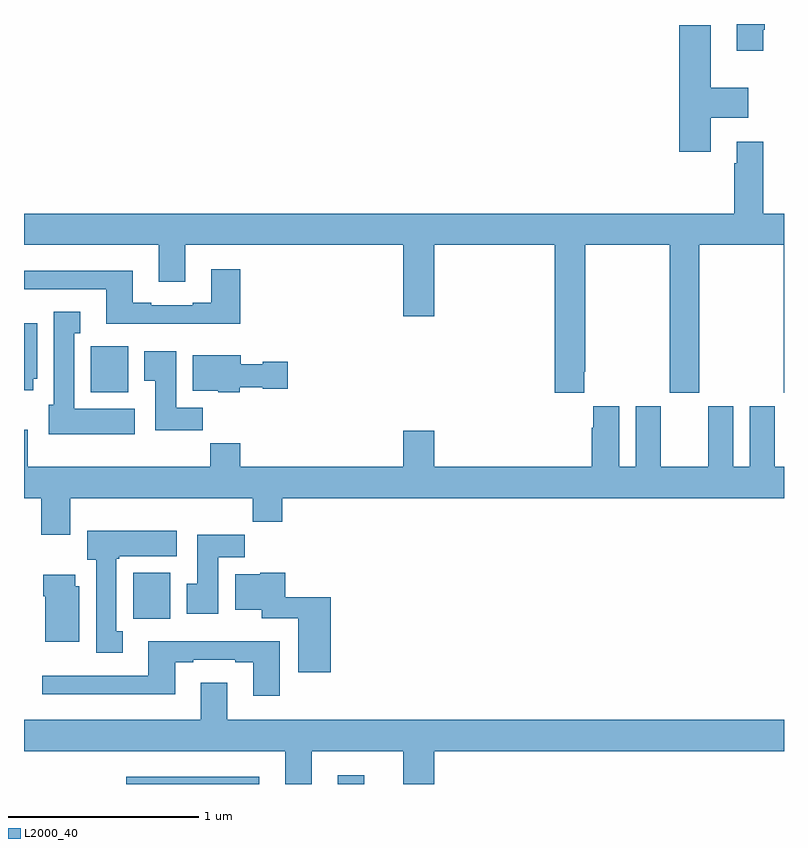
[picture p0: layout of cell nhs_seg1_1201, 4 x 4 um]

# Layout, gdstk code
import gdstk
lib = gdstk.Library(unit=1e-6, precision=1e-09)
def R(c, l, rs):  # rectangles x0, y0, x1, y1
    for r in rs: c.add(gdstk.rectangle(r[:2], r[2:], *l))
def P(c, l, *ps):  # polygons
    for p in ps: c.add(gdstk.Polygon(p, *l))
L2000_40 = (2000, 40)

nhs_seg1_1201 = lib.new_cell('nhs_seg1_1201')
R(nhs_seg1_1201, L2000_40, [(175.539,578.199,176.239,578.236), (176.651,578.199,176.791,578.245), (175.574,579.068,175.771,579.31), (175.352,580.262,175.549,580.504)])
P(nhs_seg1_1201, L2000_40, [(178.891,582.169),(178.899,582.169),(178.899,582.199),(178.751,582.199),(178.751,582.057),(178.891,582.057)],
  [(178.615,581.705),(178.813,581.705),(178.813,581.863),(178.615,581.863),(178.615,582.193),(178.448,582.193),(178.448,581.526),(178.615,581.526)],
  [(175,581.036),(175.709,581.036),(175.709,580.842),(175.849,580.842),(175.849,581.036),(176.996,581.036),(176.996,580.662),(177.16,580.662),(177.16,581.036),(177.794,581.036),(177.794,580.257),(177.949,580.257),(177.949,580.369),(177.954,580.369),(177.954,581.036),(178.399,581.036),(178.399,580.257),(178.554,580.257),(178.554,581.036),(178.999,581.036),(178.999,580.257),(179,580.257),(179,581.2),(178.891,581.2),(178.891,581.578),(178.751,581.578),(178.751,581.465),(178.739,581.465),(178.739,581.2),(175,581.2)],
  [(176.138,580.909),(175.985,580.909),(175.985,580.732),(175.889,580.732),(175.889,580.719),(175.669,580.719),(175.669,580.732),(175.573,580.732),(175.573,580.9),(175,580.9),(175,580.803),(175.433,580.803),(175.433,580.622),(176.138,580.622)],
  [(175.582,580.174),(175.264,580.174),(175.264,580.571),(175.297,580.571),(175.297,580.684),(175.157,580.684),(175.157,580.194),(175.13,580.194),(175.13,580.04),(175.582,580.04)],
  [(175.048,580.332),(175.069,580.332),(175.069,580.624),(175,580.624),(175,580.272),(175.048,580.272)],
  [(175.94,580.18),(175.801,580.18),(175.801,580.477),(175.634,580.477),(175.634,580.321),(175.691,580.321),(175.691,580.062),(175.94,580.062)],
  [(176.136,580.286),(176.256,580.286),(176.256,580.279),(176.389,580.279),(176.389,580.421),(176.256,580.421),(176.256,580.408),(176.14,580.408),(176.14,580.456),(175.889,580.456),(175.889,580.268),(176.022,580.268),(176.022,580.262),(176.136,580.262)],
  [(175.243,579.704),(176.203,579.704),(176.203,579.58),(176.36,579.58),(176.36,579.704),(179,579.704),(179,579.868),(178.951,579.868),(178.951,580.186),(178.82,580.186),(178.82,579.868),(178.732,579.868),(178.732,580.186),(178.601,580.186),(178.601,579.868),(178.351,579.868),(178.351,580.186),(178.22,580.186),(178.22,579.868),(178.132,579.868),(178.132,580.186),(177.995,580.186),(177.995,580.073),(177.989,580.073),(177.989,579.868),(177.16,579.868),(177.16,580.057),(176.996,580.057),(176.996,579.868),(176.138,579.868),(176.138,579.992),(175.981,579.992),(175.981,579.868),(175.021,579.868),(175.021,580.063),(175,580.063),(175,579.704),(175.091,579.704),(175.091,579.51),(175.243,579.51)],
  [(175.519,579.002),(175.486,579.002),(175.486,579.385),(175.5,579.385),(175.5,579.398),(175.804,579.398),(175.804,579.532),(175.334,579.532),(175.334,579.378),(175.379,579.378),(175.379,578.889),(175.519,578.889)],
  [(176.023,579.392),(176.162,579.392),(176.162,579.511),(175.913,579.511),(175.913,579.252),(175.856,579.252),(175.856,579.096),(176.023,579.096)],
  [(176.615,579.181),(176.375,579.181),(176.375,579.31),(176.244,579.31),(176.244,579.304),(176.111,579.304),(176.111,579.116),(176.252,579.116),(176.252,579.071),(176.444,579.071),(176.444,578.787),(176.615,578.787)],
  [(175.291,579.24),(175.27,579.24),(175.27,579.301),(175.1,579.301),(175.1,579.188),(175.112,579.188),(175.112,578.948),(175.291,578.948)],
  [(176.347,578.95),(175.655,578.95),(175.655,578.769),(175.095,578.769),(175.095,578.672),(175.795,578.672),(175.795,578.841),(175.891,578.841),(175.891,578.853),(176.111,578.853),(176.111,578.841),(176.207,578.841),(176.207,578.664),(176.347,578.664)],
  [(176.515,578.372),(176.996,578.372),(176.996,578.199),(177.16,578.199),(177.16,578.372),(179,578.372),(179,578.536),(176.071,578.536),(176.071,578.731),(175.931,578.731),(175.931,578.536),(175,578.536),(175,578.372),(176.375,578.372),(176.375,578.199),(176.515,578.199)])

lib.write_gds('nhs_seg1_1201.gds')
